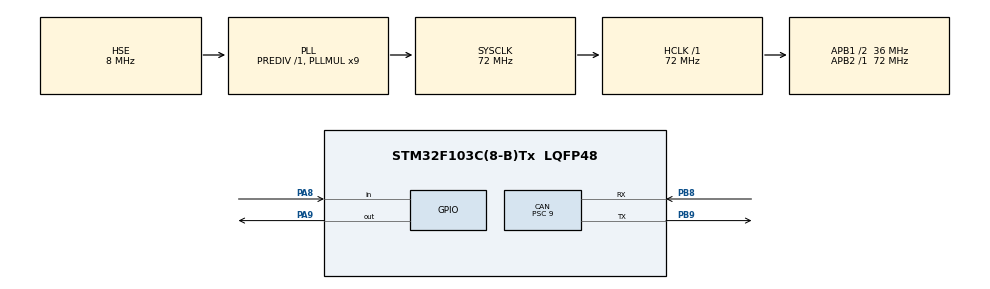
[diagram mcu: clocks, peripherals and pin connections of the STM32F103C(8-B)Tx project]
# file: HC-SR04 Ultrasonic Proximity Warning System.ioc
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CAN.BS1=CAN_BS1_10TQ
CAN.BS2=CAN_BS2_5TQ
CAN.CalculateBaudRate=250000
CAN.CalculateTimeBit=4000
CAN.CalculateTimeQuantum=250.0
CAN.Prescaler=9
Mcu.Family=STM32F1
Mcu.Name=STM32F103C(8-B)Tx
Mcu.Package=LQFP48
NVIC.PriorityGroup=NVIC_PRIORITYGROUP_4
PA13.Mode=Serial_Wire
PA13.Signal=SYS_JTMS-SWDIO
PA14.Mode=Serial_Wire
PA14.Signal=SYS_JTCK-SWCLK
PA8.Signal=GPIO_Input
PA9.Signal=GPIO_Output
PB8.Mode=CAN_Activate
PB8.Signal=CAN_RX
PB9.Mode=CAN_Activate
PB9.Signal=CAN_TX
PD0-OSC_IN.Mode=HSE-External-Oscillator
PD0-OSC_IN.Signal=RCC_OSC_IN
PD1-OSC_OUT.Mode=HSE-External-Oscillator
PD1-OSC_OUT.Signal=RCC_OSC_OUT
ProjectManager.HeapSize=0x200
ProjectManager.StackSize=0x400
ProjectManager.TargetToolchain=STM32CubeIDE
RCC.AHBFreq_Value=72000000
RCC.APB1CLKDivider=RCC_HCLK_DIV2
RCC.APB1Freq_Value=36000000
RCC.APB1TimFreq_Value=72000000
RCC.APB2Freq_Value=72000000
RCC.APB2TimFreq_Value=72000000
RCC.HCLKFreq_Value=72000000
RCC.PLLMUL=RCC_PLL_MUL9
RCC.PLLSourceVirtual=RCC_PLLSOURCE_HSE
RCC.SYSCLKFreq_VALUE=72000000
RCC.SYSCLKSource=RCC_SYSCLKSOURCE_PLLCLK
RCC.USBFreq_Value=72000000
TIM1.Prescaler=71
VP_TIM1_VS_ClockSourceINT.Mode=Internal
board=custom

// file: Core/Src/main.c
/* USER CODE BEGIN Header */
/**
  ******************************************************************************
  * @file           : main.c
  * @brief          : Main program body
  ******************************************************************************
  * @attention
  *
  * Copyright (c) 2026 STMicroelectronics.
  * All rights reserved.
  *
  * This software is licensed under terms that can be found in the LICENSE file
  * in the root directory of this software component.
  * If no LICENSE file comes with this software, it is provided AS-IS.
  *
  ******************************************************************************
  */
/* USER CODE END Header */
#include "main.h"

/* USER CODE BEGIN Includes */
            //BU DOSYADA MESAJ ALMAYACAĞIZ GÖNDERECEĞİZ ve TRİG VE ECHO PİNLERİ BAĞLANACAK. !!! voltaj bölücüyü unutma !!!
/* USER CODE END Includes */

CAN_HandleTypeDef hcan;

TIM_HandleTypeDef htim1;

/* USER CODE BEGIN PV */

 CAN_TxHeaderTypeDef pHeader;

#define TRIG_PIN GPIO_PIN_9
#define TRIG_PORT GPIOA
#define ECHO_PIN GPIO_PIN_8
#define ECHO_PORT GPIOA

uint32_t pMillis;
uint32_t Value1 = 0;
uint32_t Value2 = 0;
uint32_t Distance[2];

uint32_t mTxMailbox;

/* USER CODE END PV */

void SystemClock_Config(void);
static void MX_GPIO_Init(void);
static void MX_CAN_Init(void);
static void MX_TIM1_Init(void);

int main(void)
{

  /* MCU Configuration--------------------------------------------------------*/

  /* Reset of all peripherals, Initializes the Flash interface and the Systick. */
  HAL_Init();

  /* Configure the system clock */
  SystemClock_Config();

  /* Initialize all configured peripherals */
  MX_GPIO_Init();
  MX_CAN_Init();
  MX_TIM1_Init();
  /* USER CODE BEGIN 2 */

   pHeader.DLC = 1;
   pHeader.IDE = CAN_ID_EXT;
   pHeader.RTR = CAN_RTR_DATA;
   pHeader.ExtId = 0x0AF09876;

   HAL_CAN_Start(&hcan);

   HAL_TIM_Base_Start(&htim1);
   HAL_GPIO_WritePin(TRIG_PORT, TRIG_PIN, GPIO_PIN_RESET);  // pull the TRIG pin low

  /* USER CODE END 2 */

  /* Infinite loop */
  while (1)
  {

    /* USER CODE BEGIN 3 */

	  HAL_GPIO_WritePin(TRIG_PORT, TRIG_PIN, GPIO_PIN_SET);  // pull the TRIG pin HIGH
	    __HAL_TIM_SET_COUNTER(&htim1, 0);
	    while (__HAL_TIM_GET_COUNTER (&htim1) < 10);  // wait for 10 us
	    HAL_GPIO_WritePin(TRIG_PORT, TRIG_PIN, GPIO_PIN_RESET);  // pull the TRIG pin low

	    pMillis = HAL_GetTick();
	    while (!(HAL_GPIO_ReadPin (ECHO_PORT, ECHO_PIN)) && pMillis + 10 >  HAL_GetTick());
	    Value1 = __HAL_TIM_GET_COUNTER (&htim1);

	    pMillis = HAL_GetTick();
	    // wait for the echo pin to go low
	    while ((HAL_GPIO_ReadPin (ECHO_PORT, ECHO_PIN)) && pMillis + 50 > HAL_GetTick());
	    Value2 = __HAL_TIM_GET_COUNTER (&htim1);

	    Distance[0]= (Value2-Value1)* 0.034/2;

	   if( Distance[0] <= 12)
	   	  {
	   		  HAL_GPIO_WritePin(GPIOA, GPIO_PIN_8, GPIO_PIN_SET);
	   	  }
	   	  else
	   	  {
	   		  HAL_GPIO_WritePin(GPIOA, GPIO_PIN_8, GPIO_PIN_RESET);
	   	  }

	  HAL_CAN_AddTxMessage(&hcan, &pHeader, (uint8_t*)Distance, &mTxMailbox);

	  HAL_Delay(100);
  }
  /* USER CODE END 3 */
}

void SystemClock_Config(void)
{
  RCC_OscInitTypeDef RCC_OscInitStruct = {0};
  RCC_ClkInitTypeDef RCC_ClkInitStruct = {0};

  /** Initializes the RCC Oscillators according to the specified parameters
  * in the RCC_OscInitTypeDef structure.
  */
  RCC_OscInitStruct.OscillatorType = RCC_OSCILLATORTYPE_HSE;
  RCC_OscInitStruct.HSEState = RCC_HSE_ON;
  RCC_OscInitStruct.HSEPredivValue = RCC_HSE_PREDIV_DIV1;
  RCC_OscInitStruct.HSIState = RCC_HSI_ON;
  RCC_OscInitStruct.PLL.PLLState = RCC_PLL_ON;
  RCC_OscInitStruct.PLL.PLLSource = RCC_PLLSOURCE_HSE;
  RCC_OscInitStruct.PLL.PLLMUL = RCC_PLL_MUL9;
  if (HAL_RCC_OscConfig(&RCC_OscInitStruct) != HAL_OK)
  {
    Error_Handler();
  }

  /** Initializes the CPU, AHB and APB buses clocks
  */
  RCC_ClkInitStruct.ClockType = RCC_CLOCKTYPE_HCLK|RCC_CLOCKTYPE_SYSCLK
                              |RCC_CLOCKTYPE_PCLK1|RCC_CLOCKTYPE_PCLK2;
  RCC_ClkInitStruct.SYSCLKSource = RCC_SYSCLKSOURCE_PLLCLK;
  RCC_ClkInitStruct.AHBCLKDivider = RCC_SYSCLK_DIV1;
  RCC_ClkInitStruct.APB1CLKDivider = RCC_HCLK_DIV2;
  RCC_ClkInitStruct.APB2CLKDivider = RCC_HCLK_DIV1;

  if (HAL_RCC_ClockConfig(&RCC_ClkInitStruct, FLASH_LATENCY_2) != HAL_OK)
  {
    Error_Handler();
  }
}

static void MX_CAN_Init(void)
{

  hcan.Instance = CAN1;
  hcan.Init.Prescaler = 9;
  hcan.Init.Mode = CAN_MODE_NORMAL;
  hcan.Init.SyncJumpWidth = CAN_SJW_1TQ;
  hcan.Init.TimeSeg1 = CAN_BS1_10TQ;
  hcan.Init.TimeSeg2 = CAN_BS2_5TQ;
  hcan.Init.TimeTriggeredMode = DISABLE;
  hcan.Init.AutoBusOff = DISABLE;
  hcan.Init.AutoWakeUp = DISABLE;
  hcan.Init.AutoRetransmission = DISABLE;
  hcan.Init.ReceiveFifoLocked = DISABLE;
  hcan.Init.TransmitFifoPriority = DISABLE;
  if (HAL_CAN_Init(&hcan) != HAL_OK)
  {
    Error_Handler();
  }

}

static void MX_TIM1_Init(void)
{

  TIM_ClockConfigTypeDef sClockSourceConfig = {0};
  TIM_MasterConfigTypeDef sMasterConfig = {0};

  htim1.Instance = TIM1;
  htim1.Init.Prescaler = 71;
  htim1.Init.CounterMode = TIM_COUNTERMODE_UP;
  htim1.Init.Period = 65535;
  htim1.Init.ClockDivision = TIM_CLOCKDIVISION_DIV1;
  htim1.Init.RepetitionCounter = 0;
  htim1.Init.AutoReloadPreload = TIM_AUTORELOAD_PRELOAD_DISABLE;
  if (HAL_TIM_Base_Init(&htim1) != HAL_OK)
  {
    Error_Handler();
  }
  sClockSourceConfig.ClockSource = TIM_CLOCKSOURCE_INTERNAL;
  if (HAL_TIM_ConfigClockSource(&htim1, &sClockSourceConfig) != HAL_OK)
  {
    Error_Handler();
  }
  sMasterConfig.MasterOutputTrigger = TIM_TRGO_RESET;
  sMasterConfig.MasterSlaveMode = TIM_MASTERSLAVEMODE_DISABLE;
  if (HAL_TIMEx_MasterConfigSynchronization(&htim1, &sMasterConfig) != HAL_OK)
  {
    Error_Handler();
  }

}

static void MX_GPIO_Init(void)
{
  GPIO_InitTypeDef GPIO_InitStruct = {0};

  /* GPIO Ports Clock Enable */
  __HAL_RCC_GPIOD_CLK_ENABLE();
  __HAL_RCC_GPIOA_CLK_ENABLE();
  __HAL_RCC_GPIOB_CLK_ENABLE();

  /*Configure GPIO pin Output Level */
  HAL_GPIO_WritePin(GPIOA, GPIO_PIN_9, GPIO_PIN_RESET);

  /*Configure GPIO pin : PA8 */
  GPIO_InitStruct.Pin = GPIO_PIN_8;
  GPIO_InitStruct.Mode = GPIO_MODE_INPUT;
  GPIO_InitStruct.Pull = GPIO_NOPULL;
  HAL_GPIO_Init(GPIOA, &GPIO_InitStruct);

  /*Configure GPIO pin : PA9 */
  GPIO_InitStruct.Pin = GPIO_PIN_9;
  GPIO_InitStruct.Mode = GPIO_MODE_OUTPUT_PP;
  GPIO_InitStruct.Pull = GPIO_NOPULL;
  GPIO_InitStruct.Speed = GPIO_SPEED_FREQ_LOW;
  HAL_GPIO_Init(GPIOA, &GPIO_InitStruct);

}

void Error_Handler(void)
{
  __disable_irq();
  while (1)
  {
  }
}
